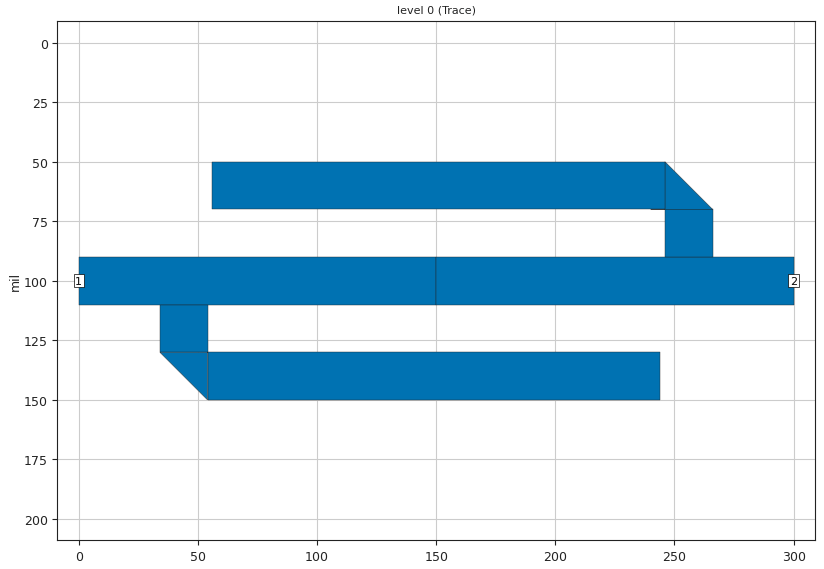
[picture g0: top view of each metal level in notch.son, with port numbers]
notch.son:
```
FTYP SONPROJ 19 ! Sonnet Project File
VER 18.58
HEADER
LIC carleton6.2.98695
DAT 01/21/2025 19:48:20
BUILT_BY_CREATED xgeom 18.56 01/10/2025 14:06:55
BUILT_BY_SAVED sonnet 18.58
MDATE 01/21/2025 19:48:20
HDATE 01/21/2025 19:48:20
END HEADER
DIM
ANG DEG
CAP PF
CON /OH
FREQ GHZ
IND NH
LNG MIL
RES OH
END DIM
CONTROL
VARSWP
OPTIONS  -d
FORCERUN
SPEED 0
CACHE_ABS 2
Q_ACC N
END CONTROL
GEO
TMET "Lossless" 0 SUP 0 0 0 0
BMET "Lossless" 0 SUP 0 0 0 0
MET "Copper" 1 NOR 58000000 0 2 
BOX 1 300 200 600 400 20 0
      200 1 1 0 0 0 0 "Air"
      20 9.9 1 0.0001 0 0 0 "Alumina (99.5%)"
TECHLAY METAL Trace <UNSPECIFIED> -2 -65534 
0 0 0 N 246 1 1 100 100 0 0 0 Y
END
END
VALVAR sep_1 NONE 30 ""
VALVAR width_2 NONE 3 ""
VALVAR height_3 NONE 3 ""
VALVAR sep_4 NONE 29 ""
VALVAR length_5 NONE 55 ""
VALVAR sep_6 NONE 29 ""
VALVAR length LNG 190 "Dim. Param."
VALVAR width LNG 20 "Dim. Param."
VALVAR height LNG 20 "Dim. Param."
VALVAR sep LNG 116 "Dim. Param."
VALVAR sep_7 NONE 110 ""
LORGN 0 1574.80315 U 
POR1 BOX
POLY 225 1
3
1 50 0 0 0 0 100 
POR1 BOX
POLY 226 1
1
2 50 0 0 0 300 100 
NUM 8
0 5 0 N 225 1 1 100 100 0 0 0 Y
TLAYNAM Trace INH
0 90
150 90
150 110
0 110
0 90
END
0 5 0 N 226 1 1 100 100 0 0 0 Y
TLAYNAM Trace INH
150 90
300 90
300 110
150 110
150 90
END
0 5 0 N 231 1 1 100 100 0 0 0 Y
TLAYNAM Trace INH
34 110
54 110
54 130
34 130
34 110
END
0 5 0 N 232 1 1 100 100 0 0 0 Y
TLAYNAM Trace INH
34 130
54 150
54 130
60 130
34 130
END
0 5 0 N 233 1 1 100 100 0 0 0 Y
TLAYNAM Trace INH
54 130
244 130
244 150
54 150
54 130
END
0 5 0 N 234 1 1 100 100 0 0 0 Y
TLAYNAM Trace INH
266 90
246 90
246 70
266 70
266 90
END
0 5 0 N 235 1 1 100 100 0 0 0 Y
TLAYNAM Trace INH
266 70
246 50
246 70
240 70
266 70
END
0 5 0 N 236 1 1 100 100 0 0 0 Y
TLAYNAM Trace INH
246 70
56 70
56 50
246 50
246 70
END
END GEO
OPT
MAX 100
END OPT
VARSWP
SWPVARS ON
ENABLED Y
FREQ Y AY ABS_ENTRY 1.0 20.0 -1 300 
VAR length Y 100.0 190.0 10.0
VAR width Y 20.0 38.0 2.0
VAR height Y 20.0 38.0 2.0
VAR sep Y 80.0 116.0 4.0
VAR sep Y 80.0 116.0 4.0
END
END VARSWP
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```
